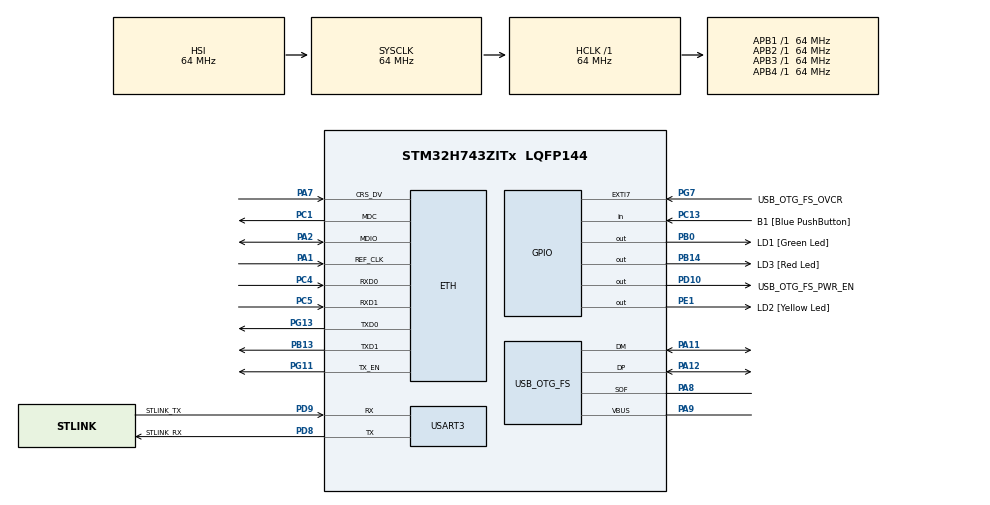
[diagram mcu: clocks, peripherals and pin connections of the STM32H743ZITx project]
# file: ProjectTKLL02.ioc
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ETH.MediaInterface=HAL_ETH_RMII_MODE
Mcu.Family=STM32H7
Mcu.Name=STM32H743ZITx
Mcu.Package=LQFP144
NVIC.PriorityGroup=NVIC_PRIORITYGROUP_4
NVIC.TIM2_IRQn=true\:0\:0\:false\:false\:true\:true\:true\:true
PA1.Mode=RMII
PA1.Signal=ETH_REF_CLK
PA11.Mode=Device_Only
PA11.Signal=USB_OTG_FS_DM
PA12.Mode=Device_Only
PA12.Signal=USB_OTG_FS_DP
PA2.Mode=RMII
PA2.Signal=ETH_MDIO
PA7.Mode=RMII
PA7.Signal=ETH_CRS_DV
PA8.Mode=Activate_SOF_FS
PA8.Signal=USB_OTG_FS_SOF
PA9.Mode=Activate_VBUS
PA9.Signal=USB_OTG_FS_VBUS
PB0.GPIO_Label=LD1 [Green Led]
PB0.Signal=GPIO_Output
PB13.Mode=RMII
PB13.Signal=ETH_TXD1
PB14.GPIO_Label=LD3 [Red Led]
PB14.Signal=GPIO_Output
PC1.Mode=RMII
PC1.Signal=ETH_MDC
PC13.GPIO_Label=B1 [Blue PushButton]
PC13.Signal=GPIO_Input
PC14-OSC32_IN\ (OSC32_IN).Mode=LSE-External-Oscillator
PC14-OSC32_IN\ (OSC32_IN).Signal=RCC_OSC32_IN
PC15-OSC32_OUT\ (OSC32_OUT).Mode=LSE-External-Oscillator
PC15-OSC32_OUT\ (OSC32_OUT).Signal=RCC_OSC32_OUT
PC4.Mode=RMII
PC4.Signal=ETH_RXD0
PC5.Mode=RMII
PC5.Signal=ETH_RXD1
PD10.GPIO_Label=USB_OTG_FS_PWR_EN
PD10.Signal=GPIO_Output
PD8.GPIO_Label=STLINK_RX
PD8.Mode=Asynchronous
PD8.Signal=USART3_TX
PD9.GPIO_Label=STLINK_TX
PD9.Mode=Asynchronous
PD9.Signal=USART3_RX
PE1.GPIO_Label=LD2 [Yellow Led]
PE1.Signal=GPIO_Output
PG11.Mode=RMII
PG11.Signal=ETH_TX_EN
PG13.Mode=RMII
PG13.Signal=ETH_TXD0
PG7.GPIO_Label=USB_OTG_FS_OVCR
PG7.Signal=GPXTI7
PH0-OSC_IN\ (PH0).Mode=HSE-External-Clock-Source
PH0-OSC_IN\ (PH0).Signal=RCC_OSC_IN
PH1-OSC_OUT\ (PH1).Signal=RCC_OSC_OUT
ProjectManager.HeapSize=0x200
ProjectManager.StackSize=0x400
ProjectManager.TargetToolchain=STM32CubeIDE
RCC.ADCFreq_Value=16125000
RCC.APB1Freq_Value=64000000
RCC.APB2Freq_Value=64000000
RCC.APB3Freq_Value=64000000
RCC.APB4Freq_Value=64000000
RCC.CortexFreq_Value=64000000
RCC.DIVM1=1
RCC.DIVN1=24
RCC.DIVQ1=4
RCC.HCLKFreq_Value=64000000
RCC.HSE_VALUE=8000000
RCC.PLLFRACN=0
RCC.PWR_Regulator_Voltage_Scale=PWR_REGULATOR_VOLTAGE_SCALE2
RCC.SYSCLKFreq_VALUE=64000000
RCC.USBFreq_Value=48000000
TIM2.Period=7
TIM2.Prescaler=7999
USART3.VirtualMode-Asynchronous=VM_ASYNC
USB_OTG_FS.VirtualMode=Device_Only
VP_TIM2_VS_ClockSourceINT.Mode=Internal
board=NUCLEO-H743ZI2

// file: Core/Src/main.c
/* USER CODE BEGIN Header */
/**
  ******************************************************************************
  * @file           : main.c
  * @brief          : Main program body
  ******************************************************************************
  * @attention
  *
  * Copyright (c) 2022 STMicroelectronics.
  * All rights reserved.
  *
  * This software is licensed under terms that can be found in the LICENSE file
  * in the root directory of this software component.
  * If no LICENSE file comes with this software, it is provided AS-IS.
  *
  ******************************************************************************
  */
/* USER CODE END Header */
#include "main.h"
#include "string.h"

/* USER CODE BEGIN Includes */

#include <stdio.h>
#include <stdlib.h>
/*Include library for reading image */
#define STB_IMAGE_IMPLEMENTATION
#include "stb_image.h"
//#include "stb_image_resize.h"
#define STB_IMAGE_WRITE_IMPLEMENTATION
#include "stb_image_write.h"
/*Include for edge detection*/
#include "canny.h"
/**-INCLUDE array type image -**/
#include "road4.h"

/* USER CODE END Includes */

/* USER CODE BEGIN PTD */
int flag = 0;
int counter = 0;
void startTimer(int flag){
	if (flag) counter++;
}
/* USER CODE END PTD */

#if defined ( __ICCARM__ ) /*!< IAR Compiler */
#pragma location=0x30000000
ETH_DMADescTypeDef  DMARxDscrTab[ETH_RX_DESC_CNT]; /* Ethernet Rx DMA Descriptors */
#pragma location=0x30000200
ETH_DMADescTypeDef  DMATxDscrTab[ETH_TX_DESC_CNT]; /* Ethernet Tx DMA Descriptors */

#elif defined ( __CC_ARM )  /* MDK ARM Compiler */

__attribute__((at(0x30000000))) ETH_DMADescTypeDef  DMARxDscrTab[ETH_RX_DESC_CNT]; /* Ethernet Rx DMA Descriptors */
__attribute__((at(0x30000200))) ETH_DMADescTypeDef  DMATxDscrTab[ETH_TX_DESC_CNT]; /* Ethernet Tx DMA Descriptors */

#elif defined ( __GNUC__ ) /* GNU Compiler */
ETH_DMADescTypeDef DMARxDscrTab[ETH_RX_DESC_CNT] __attribute__((section(".RxDecripSection"))); /* Ethernet Rx DMA Descriptors */
ETH_DMADescTypeDef DMATxDscrTab[ETH_TX_DESC_CNT] __attribute__((section(".TxDecripSection")));   /* Ethernet Tx DMA Descriptors */

#endif

ETH_TxPacketConfig TxConfig;

ETH_HandleTypeDef heth;

TIM_HandleTypeDef htim2;

UART_HandleTypeDef huart3;

PCD_HandleTypeDef hpcd_USB_OTG_FS;

void SystemClock_Config(void);
static void MX_GPIO_Init(void);
static void MX_ETH_Init(void);
static void MX_USART3_UART_Init(void);
static void MX_USB_OTG_FS_PCD_Init(void);
static void MX_TIM2_Init(void);

int main(void)
{

  /* MCU Configuration--------------------------------------------------------*/

  /* Reset of all peripherals, Initializes the Flash interface and the Systick. */
  HAL_Init();

  /* Configure the system clock */
  SystemClock_Config();

  /* Initialize all configured peripherals */
  MX_GPIO_Init();
  MX_ETH_Init();
  MX_USART3_UART_Init();
  MX_USB_OTG_FS_PCD_Init();
  MX_TIM2_Init();
  /* USER CODE BEGIN 2 */
  HAL_TIM_Base_Start_IT(&htim2);

      char *dirfilename = NULL; /* Name of the output gradient direction image */
      uint8_t *edge;      /* The output edge image */
      //int rows = 0, cols =0, channels = 0;           /* The dimensions of the image. */
      float   sigma =0.7,              /* Standard deviation of the gaussian kernel. */
              tlow = 0.6,                 /* Fraction of the high threshold in hysteresis. */
              thigh =0.9;

      //---Read by file.h and set flag for timer counter
      flag = 1;
      canny((uint8_t*)road2, ROAD_HEIGHT, ROAD_WIDTH, sigma, tlow, thigh, &edge, dirfilename);
      flag = 0;

      //-- For export PGM file.
      /*
      HAL_UART_Transmit(&huart3, (uint8_t*)"P5 ", 3, 1000);
      char len[10];
      sprintf(len,"%d ",ROAD_WIDTH);
      HAL_UART_Transmit(&huart3, (uint8_t*)len, strlen(len), 2000);
      sprintf(len,"%d ",ROAD_HEIGHT);
      HAL_UART_Transmit(&huart3, (uint8_t*)len, strlen(len), 2000);
      HAL_UART_Transmit(&huart3, (uint8_t*)"255 ", 4, 1000);

      int imglen = ROAD_WIDTH*ROAD_HEIGHT;
      int remain = ROAD_WIDTH*ROAD_HEIGHT;
      uint8_t* p_edge = edge;
      uint16_t maxsize = (uint16_t)(5000);

      for (int i = 0 ; i < imglen; i += maxsize){
    	  if (remain > maxsize){
    		  HAL_UART_Transmit(&huart3, p_edge, maxsize, 100000);
    		  remain -= maxsize;
    		  p_edge += maxsize;
    	  }
    	  else{
    		  HAL_UART_Transmit(&huart3, p_edge, remain+10, 100000);
    		  break;
    	  }
      }
	*/

      //--Print image as binary to PNG
      int len = 0;
      uint8_t* result = stbi_write_png_to_mem(edge,ROAD_WIDTH,ROAD_WIDTH,ROAD_HEIGHT,1,&len);
      HAL_UART_Transmit(&huart3, result, len, 100000);
      uint8_t str = '\r';
      HAL_UART_Transmit(&huart3, &str, 1, 100000);

      //-- Print info as comment---//
      char str2[100] = "";
      HAL_UART_Transmit(&huart3, (uint8_t*)str2, sprintf(str2,"\n----H: %d, L: %d\n, Time: %d\n\r\n",ROAD_HEIGHT,ROAD_WIDTH,counter), 100000);

  /* USER CODE END 2 */

  /* Infinite loop */
  /* USER CODE BEGIN WHILE */
  HAL_GPIO_WritePin(LD1_GPIO_Port, LD1_Pin, SET);
  while (1)
  {
    /* USER CODE END WHILE */

    /* USER CODE BEGIN 3 */
	  HAL_GPIO_TogglePin(LD1_GPIO_Port, LD1_Pin);
	  HAL_Delay(1000);

  }
  /* USER CODE END 3 */
}

void SystemClock_Config(void)
{
  RCC_OscInitTypeDef RCC_OscInitStruct = {0};
  RCC_ClkInitTypeDef RCC_ClkInitStruct = {0};

  /** Supply configuration update enable
  */
  HAL_PWREx_ConfigSupply(PWR_LDO_SUPPLY);

  /** Configure the main internal regulator output voltage
  */
  __HAL_PWR_VOLTAGESCALING_CONFIG(PWR_REGULATOR_VOLTAGE_SCALE2);

  while(!__HAL_PWR_GET_FLAG(PWR_FLAG_VOSRDY)) {}

  /** Initializes the RCC Oscillators according to the specified parameters
  * in the RCC_OscInitTypeDef structure.
  */
  RCC_OscInitStruct.OscillatorType = RCC_OSCILLATORTYPE_HSI|RCC_OSCILLATORTYPE_HSE;
  RCC_OscInitStruct.HSEState = RCC_HSE_BYPASS;
  RCC_OscInitStruct.HSIState = RCC_HSI_DIV1;
  RCC_OscInitStruct.HSICalibrationValue = RCC_HSICALIBRATION_DEFAULT;
  RCC_OscInitStruct.PLL.PLLState = RCC_PLL_ON;
  RCC_OscInitStruct.PLL.PLLSource = RCC_PLLSOURCE_HSE;
  RCC_OscInitStruct.PLL.PLLM = 1;
  RCC_OscInitStruct.PLL.PLLN = 24;
  RCC_OscInitStruct.PLL.PLLP = 2;
  RCC_OscInitStruct.PLL.PLLQ = 4;
  RCC_OscInitStruct.PLL.PLLR = 2;
  RCC_OscInitStruct.PLL.PLLRGE = RCC_PLL1VCIRANGE_3;
  RCC_OscInitStruct.PLL.PLLVCOSEL = RCC_PLL1VCOWIDE;
  RCC_OscInitStruct.PLL.PLLFRACN = 0;
  if (HAL_RCC_OscConfig(&RCC_OscInitStruct) != HAL_OK)
  {
    Error_Handler();
  }

  /** Initializes the CPU, AHB and APB buses clocks
  */
  RCC_ClkInitStruct.ClockType = RCC_CLOCKTYPE_HCLK|RCC_CLOCKTYPE_SYSCLK
                              |RCC_CLOCKTYPE_PCLK1|RCC_CLOCKTYPE_PCLK2
                              |RCC_CLOCKTYPE_D3PCLK1|RCC_CLOCKTYPE_D1PCLK1;
  RCC_ClkInitStruct.SYSCLKSource = RCC_SYSCLKSOURCE_HSI;
  RCC_ClkInitStruct.SYSCLKDivider = RCC_SYSCLK_DIV1;
  RCC_ClkInitStruct.AHBCLKDivider = RCC_HCLK_DIV1;
  RCC_ClkInitStruct.APB3CLKDivider = RCC_APB3_DIV1;
  RCC_ClkInitStruct.APB1CLKDivider = RCC_APB1_DIV1;
  RCC_ClkInitStruct.APB2CLKDivider = RCC_APB2_DIV1;
  RCC_ClkInitStruct.APB4CLKDivider = RCC_APB4_DIV1;

  if (HAL_RCC_ClockConfig(&RCC_ClkInitStruct, FLASH_LATENCY_1) != HAL_OK)
  {
    Error_Handler();
  }
}

static void MX_ETH_Init(void)
{

   static uint8_t MACAddr[6];

  heth.Instance = ETH;
  MACAddr[0] = 0x00;
  MACAddr[1] = 0x80;
  MACAddr[2] = 0xE1;
  MACAddr[3] = 0x00;
  MACAddr[4] = 0x00;
  MACAddr[5] = 0x00;
  heth.Init.MACAddr = &MACAddr[0];
  heth.Init.MediaInterface = HAL_ETH_RMII_MODE;
  heth.Init.TxDesc = DMATxDscrTab;
  heth.Init.RxDesc = DMARxDscrTab;
  heth.Init.RxBuffLen = 1524;

  if (HAL_ETH_Init(&heth) != HAL_OK)
  {
    Error_Handler();
  }

  memset(&TxConfig, 0 , sizeof(ETH_TxPacketConfig));
  TxConfig.Attributes = ETH_TX_PACKETS_FEATURES_CSUM | ETH_TX_PACKETS_FEATURES_CRCPAD;
  TxConfig.ChecksumCtrl = ETH_CHECKSUM_IPHDR_PAYLOAD_INSERT_PHDR_CALC;
  TxConfig.CRCPadCtrl = ETH_CRC_PAD_INSERT;

}

static void MX_TIM2_Init(void)
{

  TIM_ClockConfigTypeDef sClockSourceConfig = {0};
  TIM_MasterConfigTypeDef sMasterConfig = {0};

  htim2.Instance = TIM2;
  htim2.Init.Prescaler = 7999;
  htim2.Init.CounterMode = TIM_COUNTERMODE_UP;
  htim2.Init.Period = 7;
  htim2.Init.ClockDivision = TIM_CLOCKDIVISION_DIV1;
  htim2.Init.AutoReloadPreload = TIM_AUTORELOAD_PRELOAD_DISABLE;
  if (HAL_TIM_Base_Init(&htim2) != HAL_OK)
  {
    Error_Handler();
  }
  sClockSourceConfig.ClockSource = TIM_CLOCKSOURCE_INTERNAL;
  if (HAL_TIM_ConfigClockSource(&htim2, &sClockSourceConfig) != HAL_OK)
  {
    Error_Handler();
  }
  sMasterConfig.MasterOutputTrigger = TIM_TRGO_RESET;
  sMasterConfig.MasterSlaveMode = TIM_MASTERSLAVEMODE_DISABLE;
  if (HAL_TIMEx_MasterConfigSynchronization(&htim2, &sMasterConfig) != HAL_OK)
  {
    Error_Handler();
  }

}

static void MX_USART3_UART_Init(void)
{

  huart3.Instance = USART3;
  huart3.Init.BaudRate = 115200;
  huart3.Init.WordLength = UART_WORDLENGTH_8B;
  huart3.Init.StopBits = UART_STOPBITS_1;
  huart3.Init.Parity = UART_PARITY_NONE;
  huart3.Init.Mode = UART_MODE_TX_RX;
  huart3.Init.HwFlowCtl = UART_HWCONTROL_NONE;
  huart3.Init.OverSampling = UART_OVERSAMPLING_16;
  huart3.Init.OneBitSampling = UART_ONE_BIT_SAMPLE_DISABLE;
  huart3.Init.ClockPrescaler = UART_PRESCALER_DIV1;
  huart3.AdvancedInit.AdvFeatureInit = UART_ADVFEATURE_NO_INIT;
  if (HAL_UART_Init(&huart3) != HAL_OK)
  {
    Error_Handler();
  }
  if (HAL_UARTEx_SetTxFifoThreshold(&huart3, UART_TXFIFO_THRESHOLD_1_8) != HAL_OK)
  {
    Error_Handler();
  }
  if (HAL_UARTEx_SetRxFifoThreshold(&huart3, UART_RXFIFO_THRESHOLD_1_8) != HAL_OK)
  {
    Error_Handler();
  }
  if (HAL_UARTEx_DisableFifoMode(&huart3) != HAL_OK)
  {
    Error_Handler();
  }

}

static void MX_USB_OTG_FS_PCD_Init(void)
{

  hpcd_USB_OTG_FS.Instance = USB_OTG_FS;
  hpcd_USB_OTG_FS.Init.dev_endpoints = 9;
  hpcd_USB_OTG_FS.Init.speed = PCD_SPEED_FULL;
  hpcd_USB_OTG_FS.Init.dma_enable = DISABLE;
  hpcd_USB_OTG_FS.Init.phy_itface = PCD_PHY_EMBEDDED;
  hpcd_USB_OTG_FS.Init.Sof_enable = ENABLE;
  hpcd_USB_OTG_FS.Init.low_power_enable = DISABLE;
  hpcd_USB_OTG_FS.Init.lpm_enable = DISABLE;
  hpcd_USB_OTG_FS.Init.battery_charging_enable = ENABLE;
  hpcd_USB_OTG_FS.Init.vbus_sensing_enable = ENABLE;
  hpcd_USB_OTG_FS.Init.use_dedicated_ep1 = DISABLE;
  if (HAL_PCD_Init(&hpcd_USB_OTG_FS) != HAL_OK)
  {
    Error_Handler();
  }

}

static void MX_GPIO_Init(void)
{
  GPIO_InitTypeDef GPIO_InitStruct = {0};

  /* GPIO Ports Clock Enable */
  __HAL_RCC_GPIOC_CLK_ENABLE();
  __HAL_RCC_GPIOH_CLK_ENABLE();
  __HAL_RCC_GPIOA_CLK_ENABLE();
  __HAL_RCC_GPIOB_CLK_ENABLE();
  __HAL_RCC_GPIOD_CLK_ENABLE();
  __HAL_RCC_GPIOG_CLK_ENABLE();
  __HAL_RCC_GPIOE_CLK_ENABLE();

  /*Configure GPIO pin Output Level */
  HAL_GPIO_WritePin(GPIOB, LD1_Pin|LD3_Pin, GPIO_PIN_RESET);

  /*Configure GPIO pin Output Level */
  HAL_GPIO_WritePin(USB_OTG_FS_PWR_EN_GPIO_Port, USB_OTG_FS_PWR_EN_Pin, GPIO_PIN_RESET);

  /*Configure GPIO pin Output Level */
  HAL_GPIO_WritePin(LD2_GPIO_Port, LD2_Pin, GPIO_PIN_RESET);

  /*Configure GPIO pin : B1_Pin */
  GPIO_InitStruct.Pin = B1_Pin;
  GPIO_InitStruct.Mode = GPIO_MODE_INPUT;
  GPIO_InitStruct.Pull = GPIO_NOPULL;
  HAL_GPIO_Init(B1_GPIO_Port, &GPIO_InitStruct);

  /*Configure GPIO pins : LD1_Pin LD3_Pin */
  GPIO_InitStruct.Pin = LD1_Pin|LD3_Pin;
  GPIO_InitStruct.Mode = GPIO_MODE_OUTPUT_PP;
  GPIO_InitStruct.Pull = GPIO_NOPULL;
  GPIO_InitStruct.Speed = GPIO_SPEED_FREQ_LOW;
  HAL_GPIO_Init(GPIOB, &GPIO_InitStruct);

  /*Configure GPIO pin : USB_OTG_FS_PWR_EN_Pin */
  GPIO_InitStruct.Pin = USB_OTG_FS_PWR_EN_Pin;
  GPIO_InitStruct.Mode = GPIO_MODE_OUTPUT_PP;
  GPIO_InitStruct.Pull = GPIO_NOPULL;
  GPIO_InitStruct.Speed = GPIO_SPEED_FREQ_LOW;
  HAL_GPIO_Init(USB_OTG_FS_PWR_EN_GPIO_Port, &GPIO_InitStruct);

  /*Configure GPIO pin : USB_OTG_FS_OVCR_Pin */
  GPIO_InitStruct.Pin = USB_OTG_FS_OVCR_Pin;
  GPIO_InitStruct.Mode = GPIO_MODE_IT_RISING;
  GPIO_InitStruct.Pull = GPIO_NOPULL;
  HAL_GPIO_Init(USB_OTG_FS_OVCR_GPIO_Port, &GPIO_InitStruct);

  /*Configure GPIO pin : LD2_Pin */
  GPIO_InitStruct.Pin = LD2_Pin;
  GPIO_InitStruct.Mode = GPIO_MODE_OUTPUT_PP;
  GPIO_InitStruct.Pull = GPIO_NOPULL;
  GPIO_InitStruct.Speed = GPIO_SPEED_FREQ_LOW;
  HAL_GPIO_Init(LD2_GPIO_Port, &GPIO_InitStruct);

}

/* USER CODE BEGIN 4 */
void HAL_TIM_PeriodElapsedCallback(TIM_HandleTypeDef *htim){
	startTimer(flag);
}
/* USER CODE END 4 */

void Error_Handler(void)
{
  __disable_irq();
  while (1)
  {
  }
}
